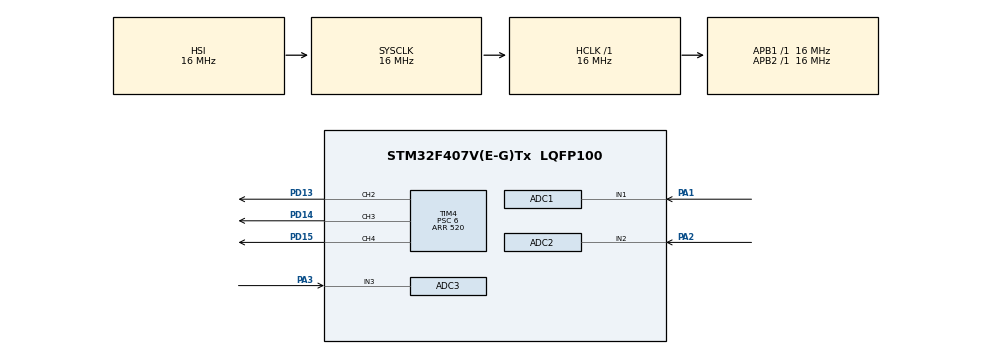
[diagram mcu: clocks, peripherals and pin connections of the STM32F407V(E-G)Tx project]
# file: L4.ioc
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ADC1.Channel-7\#ChannelRegularConversion=ADC_CHANNEL_1
ADC1.ClockPrescaler=ADC_CLOCK_SYNC_PCLK_DIV8
ADC1.NbrOfConversionFlag=1
ADC1.Rank-7\#ChannelRegularConversion=1
ADC1.SamplingTime-7\#ChannelRegularConversion=ADC_SAMPLETIME_480CYCLES
ADC1.master=1
ADC2.Channel-0\#ChannelRegularConversion=ADC_CHANNEL_2
ADC2.ClockPrescaler=ADC_CLOCK_SYNC_PCLK_DIV8
ADC2.NbrOfConversionFlag=1
ADC2.Rank-0\#ChannelRegularConversion=1
ADC2.SamplingTime-0\#ChannelRegularConversion=ADC_SAMPLETIME_480CYCLES
ADC3.Channel-1\#ChannelRegularConversion=ADC_CHANNEL_3
ADC3.ClockPrescaler=ADC_CLOCK_SYNC_PCLK_DIV8
ADC3.NbrOfConversionFlag=1
ADC3.Rank-1\#ChannelRegularConversion=1
ADC3.SamplingTime-1\#ChannelRegularConversion=ADC_SAMPLETIME_480CYCLES
Mcu.Family=STM32F4
Mcu.Name=STM32F407V(E-G)Tx
Mcu.Package=LQFP100
NVIC.ADC_IRQn=true\:0\:0\:false\:false\:true\:true\:true\:true
NVIC.PriorityGroup=NVIC_PRIORITYGROUP_4
PA1.Signal=ADCx_IN1
PA2.Signal=ADCx_IN2
PA3.Signal=ADCx_IN3
PD13.Signal=S_TIM4_CH2
PD14.Signal=S_TIM4_CH3
PD15.Signal=S_TIM4_CH4
ProjectManager.HeapSize=0x200
ProjectManager.StackSize=0x400
ProjectManager.TargetToolchain=STM32CubeIDE
RCC.AHBFreq_Value=16000000
RCC.APB1Freq_Value=16000000
RCC.APB2Freq_Value=16000000
RCC.CortexFreq_Value=16000000
RCC.HSE_VALUE=25000000
RCC.HSI_VALUE=16000000
RCC.LSE_VALUE=32768
RCC.SYSCLKFreq_VALUE=16000000
RCC.VCOOutputFreq_Value=192000000
SH.ADCx_IN1.0=ADC1_IN1,IN1
SH.ADCx_IN2.0=ADC2_IN2,IN2
SH.ADCx_IN3.0=ADC3_IN3,IN3
SH.S_TIM4_CH2.0=TIM4_CH2,PWM Generation2 CH2
SH.S_TIM4_CH3.0=TIM4_CH3,PWM Generation3 CH3
SH.S_TIM4_CH4.0=TIM4_CH4,PWM Generation4 CH4
TIM4.AutoReloadPreload=TIM_AUTORELOAD_PRELOAD_ENABLE
TIM4.Channel-PWM\ Generation2\ CH2=TIM_CHANNEL_2
TIM4.Channel-PWM\ Generation3\ CH3=TIM_CHANNEL_3
TIM4.Channel-PWM\ Generation4\ CH4=TIM_CHANNEL_4
TIM4.Period=520
TIM4.Prescaler=6
VP_TIM4_VS_ClockSourceINT.Mode=Internal
board=custom

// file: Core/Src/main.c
/* USER CODE BEGIN Header */
/**
  ******************************************************************************
  * @file           : main.c
  * @brief          : Main program body
  ******************************************************************************
  * @attention
  *
  * Copyright (c) 2025 STMicroelectronics.
  * All rights reserved.
  *
  * This software is licensed under terms that can be found in the LICENSE file
  * in the root directory of this software component.
  * If no LICENSE file comes with this software, it is provided AS-IS.
  *
  ******************************************************************************
  */
/* USER CODE END Header */
#include "main.h"

ADC_HandleTypeDef hadc1;
ADC_HandleTypeDef hadc2;
ADC_HandleTypeDef hadc3;

TIM_HandleTypeDef htim4;

void SystemClock_Config(void);
static void MX_GPIO_Init(void);
static void MX_ADC1_Init(void);
static void MX_TIM4_Init(void);
static void MX_ADC2_Init(void);
static void MX_ADC3_Init(void);

/* USER CODE BEGIN 0 */

void HAL_ADC_ConvCpltCallback(ADC_HandleTypeDef* hadc) {
	uint32_t adcValue;
	uint32_t duty;

	if (hadc->Instance == ADC1) {
		adcValue = HAL_ADC_GetValue(&hadc1);
		duty = adcValue * 520 / 4095;
		__HAL_TIM_SET_COMPARE(&htim4, TIM_CHANNEL_4, duty);
		HAL_ADC_Start_IT(&hadc1);
	}
	else if (hadc->Instance == ADC2) {
		adcValue = HAL_ADC_GetValue(&hadc2);
		duty = adcValue * 520 / 4095;
		__HAL_TIM_SET_COMPARE(&htim4, TIM_CHANNEL_3, duty);
		HAL_ADC_Start_IT(&hadc2);
	}
	else if (hadc->Instance == ADC3) {
		adcValue = HAL_ADC_GetValue(&hadc3);
		duty = adcValue * 520 / 4095;
		__HAL_TIM_SET_COMPARE(&htim4, TIM_CHANNEL_2, duty);
		HAL_ADC_Start_IT(&hadc3);
	}
}
/* USER CODE END 0 */

int main(void)
{

  /* MCU Configuration--------------------------------------------------------*/

  /* Reset of all peripherals, Initializes the Flash interface and the Systick. */
  HAL_Init();

  /* Configure the system clock */
  SystemClock_Config();

  /* Initialize all configured peripherals */
  MX_GPIO_Init();
  MX_ADC1_Init();
  MX_TIM4_Init();
  MX_ADC2_Init();
  MX_ADC3_Init();
  /* USER CODE BEGIN 2 */
  HAL_TIM_PWM_Start(&htim4, TIM_CHANNEL_4);
  __HAL_TIM_SET_COMPARE(&htim4, TIM_CHANNEL_4, 0);

  HAL_TIM_PWM_Start(&htim4, TIM_CHANNEL_3);
  __HAL_TIM_SET_COMPARE(&htim4, TIM_CHANNEL_3, 0);

  HAL_TIM_PWM_Start(&htim4, TIM_CHANNEL_2);
  __HAL_TIM_SET_COMPARE(&htim4, TIM_CHANNEL_2, 0);
  /* USER CODE END 2 */

  /* Infinite loop */
  /* USER CODE BEGIN WHILE */
  HAL_ADC_Start_IT(&hadc1);
  HAL_ADC_Start_IT(&hadc2);
  HAL_ADC_Start_IT(&hadc3);
  while (1)
  {
    /* USER CODE END WHILE */

  }
}

void SystemClock_Config(void)
{
  RCC_OscInitTypeDef RCC_OscInitStruct = {0};
  RCC_ClkInitTypeDef RCC_ClkInitStruct = {0};

  /** Configure the main internal regulator output voltage
  */
  __HAL_RCC_PWR_CLK_ENABLE();
  __HAL_PWR_VOLTAGESCALING_CONFIG(PWR_REGULATOR_VOLTAGE_SCALE1);

  /** Initializes the RCC Oscillators according to the specified parameters
  * in the RCC_OscInitTypeDef structure.
  */
  RCC_OscInitStruct.OscillatorType = RCC_OSCILLATORTYPE_HSI;
  RCC_OscInitStruct.HSIState = RCC_HSI_ON;
  RCC_OscInitStruct.HSICalibrationValue = RCC_HSICALIBRATION_DEFAULT;
  RCC_OscInitStruct.PLL.PLLState = RCC_PLL_NONE;
  if (HAL_RCC_OscConfig(&RCC_OscInitStruct) != HAL_OK)
  {
    Error_Handler();
  }

  /** Initializes the CPU, AHB and APB buses clocks
  */
  RCC_ClkInitStruct.ClockType = RCC_CLOCKTYPE_HCLK|RCC_CLOCKTYPE_SYSCLK
                              |RCC_CLOCKTYPE_PCLK1|RCC_CLOCKTYPE_PCLK2;
  RCC_ClkInitStruct.SYSCLKSource = RCC_SYSCLKSOURCE_HSI;
  RCC_ClkInitStruct.AHBCLKDivider = RCC_SYSCLK_DIV1;
  RCC_ClkInitStruct.APB1CLKDivider = RCC_HCLK_DIV1;
  RCC_ClkInitStruct.APB2CLKDivider = RCC_HCLK_DIV1;

  if (HAL_RCC_ClockConfig(&RCC_ClkInitStruct, FLASH_LATENCY_0) != HAL_OK)
  {
    Error_Handler();
  }
}

static void MX_ADC1_Init(void)
{

  ADC_ChannelConfTypeDef sConfig = {0};

  /** Configure the global features of the ADC (Clock, Resolution, Data Alignment and number of conversion)
  */
  hadc1.Instance = ADC1;
  hadc1.Init.ClockPrescaler = ADC_CLOCK_SYNC_PCLK_DIV8;
  hadc1.Init.Resolution = ADC_RESOLUTION_12B;
  hadc1.Init.ScanConvMode = DISABLE;
  hadc1.Init.ContinuousConvMode = DISABLE;
  hadc1.Init.DiscontinuousConvMode = DISABLE;
  hadc1.Init.ExternalTrigConvEdge = ADC_EXTERNALTRIGCONVEDGE_NONE;
  hadc1.Init.ExternalTrigConv = ADC_SOFTWARE_START;
  hadc1.Init.DataAlign = ADC_DATAALIGN_RIGHT;
  hadc1.Init.NbrOfConversion = 1;
  hadc1.Init.DMAContinuousRequests = DISABLE;
  hadc1.Init.EOCSelection = ADC_EOC_SINGLE_CONV;
  if (HAL_ADC_Init(&hadc1) != HAL_OK)
  {
    Error_Handler();
  }

  /** Configure for the selected ADC regular channel its corresponding rank in the sequencer and its sample time.
  */
  sConfig.Channel = ADC_CHANNEL_1;
  sConfig.Rank = 1;
  sConfig.SamplingTime = ADC_SAMPLETIME_480CYCLES;
  if (HAL_ADC_ConfigChannel(&hadc1, &sConfig) != HAL_OK)
  {
    Error_Handler();
  }

}

static void MX_ADC2_Init(void)
{

  ADC_ChannelConfTypeDef sConfig = {0};

  /** Configure the global features of the ADC (Clock, Resolution, Data Alignment and number of conversion)
  */
  hadc2.Instance = ADC2;
  hadc2.Init.ClockPrescaler = ADC_CLOCK_SYNC_PCLK_DIV8;
  hadc2.Init.Resolution = ADC_RESOLUTION_12B;
  hadc2.Init.ScanConvMode = DISABLE;
  hadc2.Init.ContinuousConvMode = DISABLE;
  hadc2.Init.DiscontinuousConvMode = DISABLE;
  hadc2.Init.ExternalTrigConvEdge = ADC_EXTERNALTRIGCONVEDGE_NONE;
  hadc2.Init.ExternalTrigConv = ADC_SOFTWARE_START;
  hadc2.Init.DataAlign = ADC_DATAALIGN_RIGHT;
  hadc2.Init.NbrOfConversion = 1;
  hadc2.Init.DMAContinuousRequests = DISABLE;
  hadc2.Init.EOCSelection = ADC_EOC_SINGLE_CONV;
  if (HAL_ADC_Init(&hadc2) != HAL_OK)
  {
    Error_Handler();
  }

  /** Configure for the selected ADC regular channel its corresponding rank in the sequencer and its sample time.
  */
  sConfig.Channel = ADC_CHANNEL_2;
  sConfig.Rank = 1;
  sConfig.SamplingTime = ADC_SAMPLETIME_480CYCLES;
  if (HAL_ADC_ConfigChannel(&hadc2, &sConfig) != HAL_OK)
  {
    Error_Handler();
  }

}

static void MX_ADC3_Init(void)
{

  ADC_ChannelConfTypeDef sConfig = {0};

  /** Configure the global features of the ADC (Clock, Resolution, Data Alignment and number of conversion)
  */
  hadc3.Instance = ADC3;
  hadc3.Init.ClockPrescaler = ADC_CLOCK_SYNC_PCLK_DIV8;
  hadc3.Init.Resolution = ADC_RESOLUTION_12B;
  hadc3.Init.ScanConvMode = DISABLE;
  hadc3.Init.ContinuousConvMode = DISABLE;
  hadc3.Init.DiscontinuousConvMode = DISABLE;
  hadc3.Init.ExternalTrigConvEdge = ADC_EXTERNALTRIGCONVEDGE_NONE;
  hadc3.Init.ExternalTrigConv = ADC_SOFTWARE_START;
  hadc3.Init.DataAlign = ADC_DATAALIGN_RIGHT;
  hadc3.Init.NbrOfConversion = 1;
  hadc3.Init.DMAContinuousRequests = DISABLE;
  hadc3.Init.EOCSelection = ADC_EOC_SINGLE_CONV;
  if (HAL_ADC_Init(&hadc3) != HAL_OK)
  {
    Error_Handler();
  }

  /** Configure for the selected ADC regular channel its corresponding rank in the sequencer and its sample time.
  */
  sConfig.Channel = ADC_CHANNEL_3;
  sConfig.Rank = 1;
  sConfig.SamplingTime = ADC_SAMPLETIME_480CYCLES;
  if (HAL_ADC_ConfigChannel(&hadc3, &sConfig) != HAL_OK)
  {
    Error_Handler();
  }

}

static void MX_TIM4_Init(void)
{

  TIM_ClockConfigTypeDef sClockSourceConfig = {0};
  TIM_MasterConfigTypeDef sMasterConfig = {0};
  TIM_OC_InitTypeDef sConfigOC = {0};

  htim4.Instance = TIM4;
  htim4.Init.Prescaler = 6;
  htim4.Init.CounterMode = TIM_COUNTERMODE_UP;
  htim4.Init.Period = 520;
  htim4.Init.ClockDivision = TIM_CLOCKDIVISION_DIV1;
  htim4.Init.AutoReloadPreload = TIM_AUTORELOAD_PRELOAD_ENABLE;
  if (HAL_TIM_Base_Init(&htim4) != HAL_OK)
  {
    Error_Handler();
  }
  sClockSourceConfig.ClockSource = TIM_CLOCKSOURCE_INTERNAL;
  if (HAL_TIM_ConfigClockSource(&htim4, &sClockSourceConfig) != HAL_OK)
  {
    Error_Handler();
  }
  if (HAL_TIM_PWM_Init(&htim4) != HAL_OK)
  {
    Error_Handler();
  }
  sMasterConfig.MasterOutputTrigger = TIM_TRGO_RESET;
  sMasterConfig.MasterSlaveMode = TIM_MASTERSLAVEMODE_DISABLE;
  if (HAL_TIMEx_MasterConfigSynchronization(&htim4, &sMasterConfig) != HAL_OK)
  {
    Error_Handler();
  }
  sConfigOC.OCMode = TIM_OCMODE_PWM1;
  sConfigOC.Pulse = 0;
  sConfigOC.OCPolarity = TIM_OCPOLARITY_HIGH;
  sConfigOC.OCFastMode = TIM_OCFAST_DISABLE;
  if (HAL_TIM_PWM_ConfigChannel(&htim4, &sConfigOC, TIM_CHANNEL_2) != HAL_OK)
  {
    Error_Handler();
  }
  if (HAL_TIM_PWM_ConfigChannel(&htim4, &sConfigOC, TIM_CHANNEL_3) != HAL_OK)
  {
    Error_Handler();
  }
  if (HAL_TIM_PWM_ConfigChannel(&htim4, &sConfigOC, TIM_CHANNEL_4) != HAL_OK)
  {
    Error_Handler();
  }
  HAL_TIM_MspPostInit(&htim4);

}

static void MX_GPIO_Init(void)
{

  /* GPIO Ports Clock Enable */
  __HAL_RCC_GPIOA_CLK_ENABLE();
  __HAL_RCC_GPIOD_CLK_ENABLE();

}

void Error_Handler(void)
{
  __disable_irq();
  while (1)
  {
  }
}
